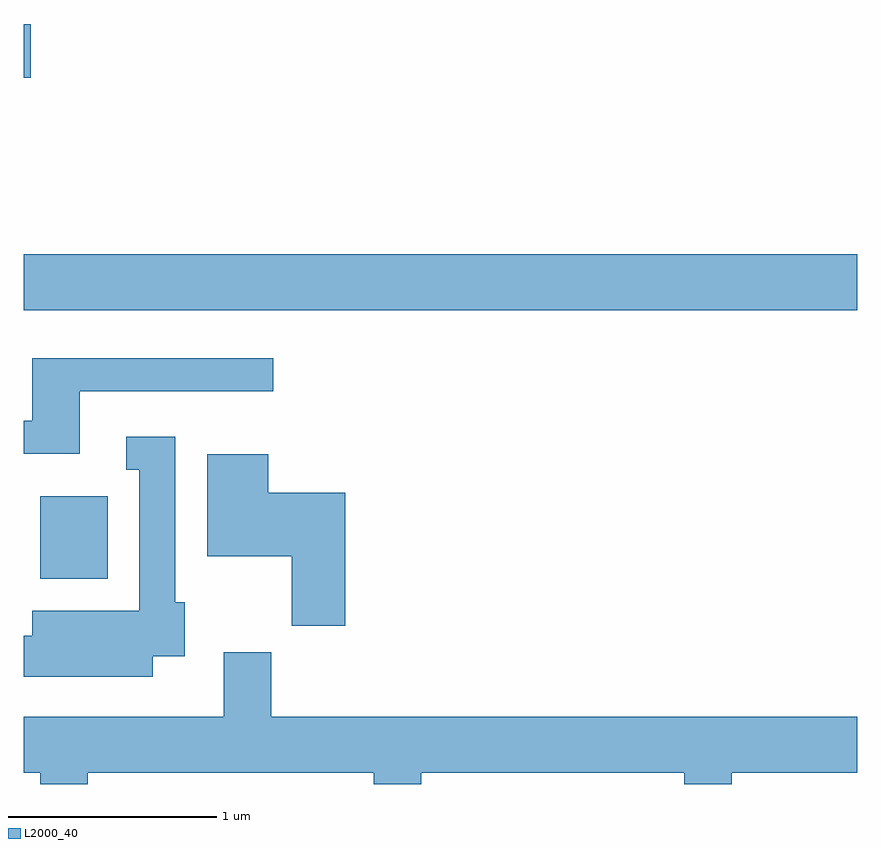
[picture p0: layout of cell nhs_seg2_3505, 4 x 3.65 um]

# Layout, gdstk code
import gdstk
lib = gdstk.Library(unit=1e-6, precision=1e-09)
def R(c, l, rs):  # rectangles x0, y0, x1, y1
    for r in rs: c.add(gdstk.rectangle(r[:2], r[2:], *l))
def P(c, l, *ps):  # polygons
    for p in ps: c.add(gdstk.Polygon(p, *l))
L2000_40 = (2000, 40)

nhs_seg2_3505 = lib.new_cell('nhs_seg2_3505')
R(nhs_seg2_3505, L2000_40, [(287.691,1064.786,288.014,1065.184), (287.611,1066.076,291.611,1066.344), (287.611,1067.191,287.644,1067.449)])
P(nhs_seg2_3505, L2000_40, [(287.879,1065.686),(288.808,1065.686),(288.808,1065.844),(287.651,1065.844),(287.651,1065.544),(287.611,1065.544),(287.611,1065.386),(287.879,1065.386)],
  [(288.229,1064.416),(288.384,1064.416),(288.384,1064.674),(288.339,1064.674),(288.339,1065.469),(288.103,1065.469),(288.103,1065.311),(288.166,1065.311),(288.166,1064.634),(287.651,1064.634),(287.651,1064.514),(287.611,1064.514),(287.611,1064.316),(288.229,1064.316)],
  [(289.154,1065.199),(288.784,1065.199),(288.784,1065.384),(288.491,1065.384),(288.491,1064.896),(288.896,1064.896),(288.896,1064.561),(289.154,1064.561)],
  [(287.919,1063.856),(289.291,1063.856),(289.291,1063.802),(289.519,1063.802),(289.519,1063.856),(290.781,1063.856),(290.781,1063.802),(291.009,1063.802),(291.009,1063.856),(291.611,1063.856),(291.611,1064.124),(288.799,1064.124),(288.799,1064.434),(288.571,1064.434),(288.571,1064.124),(287.611,1064.124),(287.611,1063.856),(287.691,1063.856),(287.691,1063.802),(287.919,1063.802)])

lib.write_gds('nhs_seg2_3505.gds')
